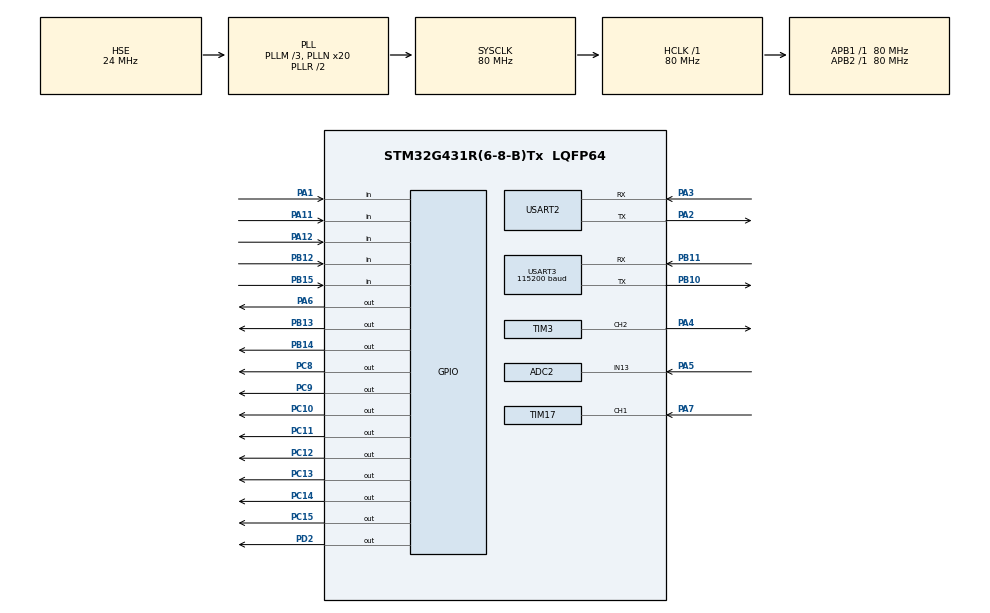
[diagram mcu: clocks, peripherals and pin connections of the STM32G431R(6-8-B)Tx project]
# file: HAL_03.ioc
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ADC2.Channel-0\#ChannelRegularConversion=ADC_CHANNEL_13
ADC2.NbrOfConversionFlag=1
ADC2.OffsetNumber-0\#ChannelRegularConversion=ADC_OFFSET_NONE
ADC2.Rank-0\#ChannelRegularConversion=1
ADC2.SamplingTime-0\#ChannelRegularConversion=ADC_SAMPLETIME_247CYCLES_5
Dma.Request0=TIM3_CH2
Dma.TIM3_CH2.0.Direction=DMA_MEMORY_TO_PERIPH
Dma.TIM3_CH2.0.EventEnable=DISABLE
Dma.TIM3_CH2.0.Instance=DMA1_Channel1
Dma.TIM3_CH2.0.MemDataAlignment=DMA_MDATAALIGN_HALFWORD
Dma.TIM3_CH2.0.MemInc=DMA_MINC_ENABLE
Dma.TIM3_CH2.0.Mode=DMA_NORMAL
Dma.TIM3_CH2.0.PeriphDataAlignment=DMA_PDATAALIGN_WORD
Dma.TIM3_CH2.0.PeriphInc=DMA_PINC_DISABLE
Dma.TIM3_CH2.0.Polarity=HAL_DMAMUX_REQ_GEN_RISING
Dma.TIM3_CH2.0.Priority=DMA_PRIORITY_LOW
Dma.TIM3_CH2.0.RequestNumber=1
Dma.TIM3_CH2.0.SignalID=NONE
Dma.TIM3_CH2.0.SyncEnable=DISABLE
Dma.TIM3_CH2.0.SyncPolarity=HAL_DMAMUX_SYNC_NO_EVENT
Dma.TIM3_CH2.0.SyncRequestNumber=1
Dma.TIM3_CH2.0.SyncSignalID=NONE
Mcu.Family=STM32G4
Mcu.Name=STM32G431R(6-8-B)Tx
Mcu.Package=LQFP64
NVIC.DMA1_Channel1_IRQn=true\:0\:0\:false\:false\:true\:false\:true
NVIC.PriorityGroup=NVIC_PRIORITYGROUP_4
NVIC.TIM1_TRG_COM_TIM17_IRQn=true\:0\:0\:false\:false\:true\:true\:true
NVIC.TIM2_IRQn=true\:0\:0\:false\:false\:true\:true\:true
NVIC.TIM6_DAC_IRQn=true\:0\:0\:false\:false\:true\:true\:true
NVIC.USART2_IRQn=true\:0\:0\:false\:false\:true\:true\:true
NVIC.USART3_IRQn=true\:0\:0\:false\:false\:true\:true\:true
PA1.GPIO_PuPd=GPIO_NOPULL
PA1.Signal=GPIO_Input
PA11.GPIO_PuPd=GPIO_PULLDOWN
PA11.Signal=GPIO_Input
PA12.GPIO_PuPd=GPIO_PULLDOWN
PA12.Signal=GPIO_Input
PA2.Mode=Asynchronous
PA2.Signal=USART2_TX
PA3.Mode=Asynchronous
PA3.Signal=USART2_RX
PA4.Signal=S_TIM3_CH2
PA5.Mode=IN13-Single-Ended
PA5.Signal=ADC2_IN13
PA6.Signal=GPIO_Output
PA7.Signal=S_TIM17_CH1
PB10.Mode=Asynchronous
PB10.Signal=USART3_TX
PB11.Mode=Asynchronous
PB11.Signal=USART3_RX
PB12.Signal=GPIO_Input
PB13.Signal=GPIO_Output
PB14.Signal=GPIO_Output
PB15.GPIO_PuPd=GPIO_PULLDOWN
PB15.Signal=GPIO_Input
PC10.Signal=GPIO_Output
PC11.Signal=GPIO_Output
PC12.Signal=GPIO_Output
PC13.Signal=GPIO_Output
PC14-OSC32_IN.Signal=GPIO_Output
PC15-OSC32_OUT.Signal=GPIO_Output
PC8.Signal=GPIO_Output
PC9.Signal=GPIO_Output
PD2.Signal=GPIO_Output
PF0-OSC_IN.Mode=HSE-External-Oscillator
PF0-OSC_IN.Signal=RCC_OSC_IN
PF1-OSC_OUT.Mode=HSE-External-Oscillator
PF1-OSC_OUT.Signal=RCC_OSC_OUT
ProjectManager.HeapSize=0x200
ProjectManager.StackSize=0x400
ProjectManager.TargetToolchain=MDK-ARM V5.27
RCC.ADC12Freq_Value=80000000
RCC.AHBFreq_Value=80000000
RCC.APB1Freq_Value=80000000
RCC.APB1TimFreq_Value=80000000
RCC.APB2Freq_Value=80000000
RCC.APB2TimFreq_Value=80000000
RCC.CortexFreq_Value=80000000
RCC.EXTERNAL_CLOCK_VALUE=12288000
RCC.HCLKFreq_Value=80000000
RCC.HSE_VALUE=24000000
RCC.HSI48_VALUE=48000000
RCC.HSI_VALUE=16000000
RCC.LSE_VALUE=32768
RCC.PLLM=RCC_PLLM_DIV3
RCC.PLLN=20
RCC.PLLSourceVirtual=RCC_PLLSOURCE_HSE
RCC.SYSCLKFreq_VALUE=80000000
RCC.SYSCLKSource=RCC_SYSCLKSOURCE_PLLCLK
RCC.USBFreq_Value=80000000
RCC.VCOOutputFreq_Value=160000000
SH.S_TIM17_CH1.0=TIM17_CH1,Input_Capture1_from_TI1
SH.S_TIM3_CH2.0=TIM3_CH2,PWM Generation2 CH2
TIM17.Channel=TIM_CHANNEL_1
TIM17.PeriodNoDither=0xffff
TIM17.Prescaler=800-1
TIM2.AutoReloadPreload=TIM_AUTORELOAD_PRELOAD_ENABLE
TIM2.PeriodNoDither=10000-1
TIM2.Prescaler=8000-1
TIM3.AutoReloadPreload=TIM_AUTORELOAD_PRELOAD_ENABLE
TIM3.Channel-PWM\ Generation2\ CH2=TIM_CHANNEL_2
TIM3.PeriodNoDither=99
TIM3.Prescaler=0
TIM6.AutoReloadPreload=TIM_AUTORELOAD_PRELOAD_ENABLE
TIM6.PeriodNoDither=499
TIM6.Prescaler=79
USART2.VirtualMode-Asynchronous=VM_ASYNC
USART3.BaudRate=115200
USART3.VirtualMode-Asynchronous=VM_ASYNC
VP_SYS_VS_DBSignals.Mode=DisableDeadBatterySignals
VP_TIM17_VS_ClockSourceINT.Mode=Enable_Timer
VP_TIM2_VS_ClockSourceINT.Mode=Internal
VP_TIM3_VS_ClockSourceINT.Mode=Internal
VP_TIM6_VS_ClockSourceINT.Mode=Enable_Timer
board=custom

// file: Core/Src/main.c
/* USER CODE BEGIN Header */
/**
  ******************************************************************************
  * @file           : main.c
  * @brief          : Main program body
  ******************************************************************************
  * @attention
  *
  * <h2><center>&copy; Copyright (c) 2024 STMicroelectronics.
  * All rights reserved.</center></h2>
  *
  * This software component is licensed by ST under BSD 3-Clause license,
  * the "License"; You may not use this file except in compliance with the
  * License. You may obtain a copy of the License at:
  *                        opensource.org/licenses/BSD-3-Clause
  *
  ******************************************************************************
  */
/* USER CODE END Header */
#include "main.h"
#include "adc.h"
#include "dma.h"
#include "tim.h"
#include "usart.h"
#include "gpio.h"

/* USER CODE BEGIN Includes */
#include "led.h"
#include "lcd.h"
#include <string.h>
#include <stdio.h>
#include "ws2812b.h"
//#include "lcd.h"

/* USER CODE END Includes */

/* USER CODE BEGIN PD */

#define K210    HAL_GPIO_ReadPin(GPIOB, GPIO_PIN_1)
#define Have    GPIO_PIN_SET
#define NotHave GPIO_PIN_RESET

#define PUL_Port GPIOB
#define PUL_Pin  GPIO_PIN_13
#define DIR_Port GPIOB
#define DIR_Pin  GPIO_PIN_14
#define PUL_TRG HAL_GPIO_TogglePin(PUL_Port, PUL_Pin)
#define PUL_H   HAL_GPIO_WritePin(PUL_Port, PUL_Pin, GPIO_PIN_SET)
#define PUL_L   HAL_GPIO_WritePin(PUL_Port, PUL_Pin, GPIO_PIN_RESET)

#define DIR_TRG HAL_GPIO_TogglePin(DIR_Port, DIR_Pin)
#define DIR_H   HAL_GPIO_WritePin(DIR_Port, DIR_Pin, GPIO_PIN_SET)
#define DIR_L   HAL_GPIO_WritePin(DIR_Port, DIR_Pin, GPIO_PIN_RESET)

#define Trig_Port GPIOA
#define Trig_Pin  GPIO_PIN_6
#define TRIG_ON   HAL_GPIO_WritePin(Trig_Port, Trig_Pin, GPIO_PIN_SET)
#define TRIG_OFF  HAL_GPIO_WritePin(Trig_Port, Trig_Pin, GPIO_PIN_RESET)

#define SR04_Min  46
#define SR04_Max  30
/* USER CODE END PD */

/* USER CODE BEGIN PV */

uint32_t Ema_Count, Stop_Time_Count, Check_Time, Have_Count;
uint8_t Flag_Check, Flag_Run, Flag_Down, Flag_Mid = 0, Flag_Up = 0, Flag_MidUpMid = 0, Flag_Act, Flag_Percent;
uint8_t Str[20], Str_Esp8266[20];
double Light;
uint8_t Time_Sound_Interrupt, Angle = 0;//0-180

uint8_t Temperature = 27, Humidity = 59;
uint16_t Percent_Rubbish;//0-100
uint8_t RX[50];

uint8_t  Distance = 0, array[50];
uint8_t  Channel2Edge = 0;
uint16_t Channel2HighTime, Channel2RisingTime, Channel2FallingTime;

/* USER CODE END PV */

void SystemClock_Config(void);
/* USER CODE BEGIN PFP */
double getADC_PA5(void);
void LED_Show(void);
void gases_start_signal(void);
void LCD_Show(void);
/* USER CODE END PFP */

/* USER CODE BEGIN 0 */

void HAL_TIM_PeriodElapsedCallback(TIM_HandleTypeDef *htim)
{
//	if(htim->Instance == htim6.Instance)
//	{
//		//上电进入工作状态（平铺）后才能进行K210检测
/////////////////////////////////////////////////////////////////////////////////////////////////////////////////////////////
//
//		//K210执行逻辑
//		if(Flag_Check == 1)//开始监测K210
//		{
//			if(K210 == Have)Have_Count ++;
//			if(++Check_Time == 2000)
//			{
//				if((Have_Count * 1.0f / Check_Time) > 0.4f)
//				{
//					Flag_Run = 1;//大部分时候都是有垃圾,触发花瓣合拢
//					Flag_Check = 0;//停止监测k210
//					LED_ON(2);
//					LED_OFF(1);
//				}
//				Have_Count = 0;
//				Check_Time = 0;
//			}
//		}
//
//		if(Flag_Run == 1)//开始向上合拢
//		{
//			if(Angle == 90)
//			{
//				DIR_H;
//				PUL_TRG;
//				if(++Ema_Count >= 1550)
//				{
//					Ema_Count = 0;
//					Flag_Run = 2;
//					LED_ON(3);
//					LED_OFF(2);
//					Angle += 90;
//				}
//			}
//		}
//		else if(Flag_Run == 2)//合拢完毕，暂停1s
//		{
//			DIR_L;
//			if(++Stop_Time_Count == 1000)
//			{
//				Stop_Time_Count = 0;
//				Flag_Run = 3;
//				LED_ON(4);
//				LED_OFF(3);
//			}
//		}
//		else if(Flag_Run == 3)//合拢完毕，向下收回平铺
//		{
//			if(Angle == 180)
//			{
//				DIR_L;
//				PUL_TRG;
//				if(++Ema_Count == 1550)
//				{
//					Ema_Count = 0;
//					Flag_Check = 1;//重新开始监测K210
//					Flag_Run = 0;//停止运行合拢程序
//					Angle -= 90;
//				}
//			}
//		}
//
/////////////////////////////////////////////////////////////////////////////////////////////////////////////////////////////
//		//语音指令执行逻辑
//		if(Flag_Down == 1 && Flag_Percent == 0)//从任意状态垂落
//		{
//			Flag_Mid = 0;Flag_Up = 0;Flag_MidUpMid = 0;//垂落优先级最高
//			Flag_Check = 0;//不是平铺，不能检测K210
//			LED_OFF(6);LED_OFF(7);LED_OFF(8);
//			if(Angle == 90)
//			{
//				DIR_L;
//				PUL_TRG;
//				if(++Ema_Count >= 1600)
//				{
//					Ema_Count = 0;
//					Flag_Down = 0;
//					Angle -= 90;
//					LED_OFF(5);
//				}
//			}
//			else if(Angle == 180)
//			{
//				DIR_L;
//				PUL_TRG;
//				if(++Ema_Count >= 3150)
//				{
//					Ema_Count = 0;
//					Flag_Down = 0;
//					Angle -= 180;
//					LED_OFF(5);
//				}
//			}
//			else if(Angle == 0)
//			{
//				DIR_H;
//				Ema_Count = 0;
//				Flag_Down = 0;
//				LED_OFF(5);
//			}
//		}
//
//		if(Flag_Mid == 1 && Flag_Percent == 0)//从任意状态平铺
//		{
//			Flag_Up = 0;Flag_MidUpMid = 0;//次高优先级
//			LED_OFF(7);LED_OFF(8);
//			Flag_Check = 0;//没到平铺状态，不能检测K210
//			if(Angle == 0)
//			{
//				DIR_H;
//				PUL_TRG;
//				if(++Ema_Count == 1600)
//				{
//					Ema_Count = 0;
//					Flag_Mid = 0;
//					Flag_Check = 1;//到平铺状态，可以开始监测K210
//					Angle += 90;
//					LED_OFF(6);
//				}
//			}
//			else if(Angle == 180)
//			{
//				DIR_L;
//				PUL_TRG;
//				if(++Ema_Count == 1550)
//				{
//					Ema_Count = 0;
//					Flag_Mid = 0;
//					Flag_Check = 1;
//					Angle -= 90;
//					LED_OFF(6);
//				}
//			}
//			else if(Angle == 90)
//			{
//				Flag_Mid = 0;
//				Flag_Check = 1;
//				Ema_Count = 0;
//				LED_OFF(6);
//			}
//		}
//
//		if(Flag_Up == 1)//从任意状态合拢
//		{
//			Flag_MidUpMid = 0;//第三优先级
//			LED_OFF(8);
//			Flag_Check = 0;//不是平铺，不能检测K210
//			if(Angle == 90)
//			{
//				DIR_H;
//				PUL_TRG;
//				if(++Ema_Count >= 1550)
//				{
//					Ema_Count = 0;
//					Flag_Up = 0;
//					Angle += 90;
//					LED_OFF(7);
//				}
//			}
//			else if(Angle == 0)
//			{
//				Flag_Check = 0;
//				DIR_H;
//				PUL_TRG;
//				if(++Ema_Count >= 3150)
//				{
//					Ema_Count = 0;
//					Flag_Up = 0;
//					Angle += 180;
//					LED_OFF(7);
//				}
//			}
//			else if(Angle == 180)
//			{
//				DIR_L;
//				Flag_Up = 0;
//				Ema_Count = 0;
//				LED_OFF(7);
//			}
//		}
//
//		if(Flag_MidUpMid == 1  && Flag_Percent == 0)//收集垃圾
//		{
//			Flag_Check = 0;//不是平铺，不能检测K210
//			if(Angle == 90)
//			{
//				DIR_H;
//				PUL_TRG;
//				if(++Ema_Count >= 1550)
//				{
//					Ema_Count = 0;
//					Angle += 90;
//				}
//			}
//			else if(Angle == 180)
//			{
//				if(Flag_Act == 0)
//				{
//					DIR_L;
//					if(++Stop_Time_Count == 1000)
//					{
//						Stop_Time_Count = 0;
//						Flag_Act = 1;
//					}
//				}
//				else
//				{
//					DIR_L;
//					PUL_TRG;
//					if(++Ema_Count >= 1550)
//					{
//						Ema_Count = 0;
//						Angle -= 90;
//						Flag_MidUpMid = 0;
//						Flag_Act = 0;
//						Flag_Check = 1;//回到平铺状态，重新开启K210监测
//						LED_OFF(8);
//					}
//				}
//			}
//		}
//
//	}
//	if(htim->Instance == htim2.Instance)
//	{
//		Time_Sound_Interrupt ++;
//	}
}

//串口接收处理
void HAL_UART_RxCpltCallback(UART_HandleTypeDef *huart)
{
//	if(huart->Instance == huart2.Instance)//语音
//	{
//		if(RX[0]=='1')
//		{
//			LED_ON(5);
//			Flag_Down = 1;
//		}
//		else if(RX[0]=='2')
//		{
//			LED_ON(8);
//			Flag_MidUpMid = 1;
//		}
//		else if(RX[0]=='3')
//		{
//			LED_ON(6);
//			Flag_Mid = 1;
//			LED_ON(1);
//		}
//		else if(RX[0]=='4')
//		{
//			LED_ON(7);
//			Flag_Up = 1;
//		}
//		else if(RX[0]=='0')
//		{
//
//		}
//		HAL_UART_Receive_IT(&huart2, (uint8_t *)RX,1);
//	}
//
//	if(huart->Instance == huart3.Instance)//物联网
//	{
//		if(RX[0]=='1')
//		{
//			LED_ON(5);
//			Flag_Down = 1;
//		}
//		else if(RX[0]=='2')
//		{
//			LED_ON(6);
//			Flag_Mid = 1;
//			LED_ON(2);
//		}
//		else if(RX[0]=='3')
//		{
//			LED_ON(7);
//			Flag_Up = 1;
//		}
//		else if(RX[0]=='4')
//		{
//			LED_ON(8);
//			Flag_MidUpMid = 1;
//		}
//		else if(RX[0]=='0')
//		{
//
//		}
//		HAL_UART_Receive_IT(&huart3, (uint8_t *)RX, 1);
//	}
}
/* USER CODE END 0 */

int main(void)
{

  /* MCU Configuration--------------------------------------------------------*/

  /* Reset of all peripherals, Initializes the Flash interface and the Systick. */
  HAL_Init();

  /* Configure the system clock */
  SystemClock_Config();

  /* Initialize all configured peripherals */
  MX_GPIO_Init();
  MX_DMA_Init();
  MX_TIM2_Init();
  MX_TIM3_Init();
  MX_ADC2_Init();
  MX_TIM6_Init();
  MX_USART3_UART_Init();
  MX_USART2_UART_Init();
  MX_TIM17_Init();
  /* USER CODE BEGIN 2 */
  LED_Init();

  LCD_Init();
  LCD_Clear(Black);
  LCD_SetBackColor(Black);
  LCD_SetTextColor(White);

  HAL_TIM_Base_Start_IT(&htim6);//打开定时器6中断，完成花瓣合拢等过程
  //定时器3用于输出占空比控制灯
  //定时器2超声波计时

  HAL_TIM_IC_Start_IT(&htim17, TIM_CHANNEL_1);//定时器17用于输入捕获获取超声波数据

  HAL_UART_Receive_IT(&huart3, (uint8_t *)RX, 1);//串口3接收esp8266数据
  HAL_UART_Receive_IT(&huart2, (uint8_t *)RX, 1);//串口2，语音模块

  /* USER CODE END 2 */

  /* Infinite loop */
  /* USER CODE BEGIN WHILE */
  while (1)
  {

	  //超声波深度探测
	  gases_start_signal();

	  if(Distance<SR04_Max){Percent_Rubbish = 100;}
	  else if(Distance>SR04_Max&&Distance<SR04_Min)Percent_Rubbish = (uint16_t)(((double)(SR04_Min*1.0 - Distance) / (SR04_Min-SR04_Max)) * 100.0);
	  else if(Distance>SR04_Min)Percent_Rubbish = 0;
	  //当垃圾满，则花瓣合拢
//	  if(Percent_Rubbish >= 99)
//	  {
//		  Flag_Up = 1;
//		  LED_ON(7);
//		  Flag_Percent = 1;
//	  }
//	  else
//	  {
//		  Flag_Percent = 0;
//	  }

	  sprintf((char *)Str_Esp8266, "%2d%2d%d", Temperature, Humidity, Percent_Rubbish);
	  HAL_UART_Transmit_IT(&huart3,(uint8_t *)Str_Esp8266,strlen((char *)Str_Esp8266));

	  //检测光照度，亮灯，防撞
	  Light = getADC_PA5();
	  LED_Show();

	  //LCD显示信息
	  LCD_Show();

    /* USER CODE END WHILE */

  }
}

void SystemClock_Config(void)
{
  RCC_OscInitTypeDef RCC_OscInitStruct = {0};
  RCC_ClkInitTypeDef RCC_ClkInitStruct = {0};
  RCC_PeriphCLKInitTypeDef PeriphClkInit = {0};

  /** Configure the main internal regulator output voltage
  */
  HAL_PWREx_ControlVoltageScaling(PWR_REGULATOR_VOLTAGE_SCALE1);
  /** Initializes the RCC Oscillators according to the specified parameters
  * in the RCC_OscInitTypeDef structure.
  */
  RCC_OscInitStruct.OscillatorType = RCC_OSCILLATORTYPE_HSE;
  RCC_OscInitStruct.HSEState = RCC_HSE_ON;
  RCC_OscInitStruct.PLL.PLLState = RCC_PLL_ON;
  RCC_OscInitStruct.PLL.PLLSource = RCC_PLLSOURCE_HSE;
  RCC_OscInitStruct.PLL.PLLM = RCC_PLLM_DIV3;
  RCC_OscInitStruct.PLL.PLLN = 20;
  RCC_OscInitStruct.PLL.PLLP = RCC_PLLP_DIV2;
  RCC_OscInitStruct.PLL.PLLQ = RCC_PLLQ_DIV2;
  RCC_OscInitStruct.PLL.PLLR = RCC_PLLR_DIV2;
  if (HAL_RCC_OscConfig(&RCC_OscInitStruct) != HAL_OK)
  {
    Error_Handler();
  }
  /** Initializes the CPU, AHB and APB buses clocks
  */
  RCC_ClkInitStruct.ClockType = RCC_CLOCKTYPE_HCLK|RCC_CLOCKTYPE_SYSCLK
                              |RCC_CLOCKTYPE_PCLK1|RCC_CLOCKTYPE_PCLK2;
  RCC_ClkInitStruct.SYSCLKSource = RCC_SYSCLKSOURCE_PLLCLK;
  RCC_ClkInitStruct.AHBCLKDivider = RCC_SYSCLK_DIV1;
  RCC_ClkInitStruct.APB1CLKDivider = RCC_HCLK_DIV1;
  RCC_ClkInitStruct.APB2CLKDivider = RCC_HCLK_DIV1;

  if (HAL_RCC_ClockConfig(&RCC_ClkInitStruct, FLASH_LATENCY_2) != HAL_OK)
  {
    Error_Handler();
  }
  /** Initializes the peripherals clocks
  */
  PeriphClkInit.PeriphClockSelection = RCC_PERIPHCLK_USART2|RCC_PERIPHCLK_USART3
                              |RCC_PERIPHCLK_ADC12;
  PeriphClkInit.Usart2ClockSelection = RCC_USART2CLKSOURCE_PCLK1;
  PeriphClkInit.Usart3ClockSelection = RCC_USART3CLKSOURCE_PCLK1;
  PeriphClkInit.Adc12ClockSelection = RCC_ADC12CLKSOURCE_SYSCLK;
  if (HAL_RCCEx_PeriphCLKConfig(&PeriphClkInit) != HAL_OK)
  {
    Error_Handler();
  }
}

/* USER CODE BEGIN 4 */
void HAL_TIM_IC_CaptureCallback(TIM_HandleTypeDef *htim)
{
	int i;
	UNUSED(htim);

	if(htim->Instance == htim17.Instance)
	{
		if(htim->Channel == HAL_TIM_ACTIVE_CHANNEL_1)
		{
			if(Channel2Edge == 0)
			{
				Channel2RisingTime = HAL_TIM_ReadCapturedValue(&htim17, TIM_CHANNEL_1);
				__HAL_TIM_SET_CAPTUREPOLARITY(&htim17, TIM_CHANNEL_1, TIM_INPUTCHANNELPOLARITY_FALLING);
				HAL_TIM_IC_Start_IT(&htim17, TIM_CHANNEL_2);

				Channel2Edge = 1;
			}
			else if(Channel2Edge == 1)
			{
				Channel2FallingTime = HAL_TIM_ReadCapturedValue(&htim17, TIM_CHANNEL_1);
				__HAL_TIM_SET_CAPTUREPOLARITY(&htim17, TIM_CHANNEL_1, TIM_INPUTCHANNELPOLARITY_RISING);
				HAL_TIM_IC_Start_IT(&htim17, TIM_CHANNEL_1);

				Channel2HighTime = Channel2FallingTime < Channel2RisingTime ? Channel2FallingTime + 0xffff - Channel2RisingTime + 1 : Channel2FallingTime - Channel2RisingTime;
				Distance = Channel2HighTime * 17 / 100;
				Channel2Edge = 0;
			}
		}
	}
//	array[i] = Channel2HighTime * 17 / 100;

//	if(i == 49)
//	{
//		for(int j = 0; j < 50; j++)
//		{
//			Distance += array[i];
//		}
//		Distance  = Distance * 1.0 / 50;
//	}
//
//	i++;
//	if(i==50)i=0;
}

void gases_start_signal(void)
{
    TRIG_ON;
    //延时20us
    HAL_Delay(1);
    TRIG_OFF;
}

void LED_Show(void)
{
	if(Light > 1.60 && Light <= 1.80)
	  {
		  	RGB_Show_ALL(table[6]);
	  }
	  else if(Light > 1.80 && Light <= 2.00)
	  {
		  	RGB_Show_ALL(table[7]);
	  }
	  else if(Light > 2.00 && Light <= 2.20)
	  {
		  	RGB_Show_ALL(table[8]);
	  }
	  else if(Light > 2.20 && Light <= 2.40)
	  {
		  	RGB_Show_ALL(table[13]);
	  }
	  else if(Light > 2.40 && Light <= 2.60)
	  {
		  	RGB_Show_ALL(table[12]);
	  }
	  else if(Light > 2.60 && Light <= 2.80)
	  {
		  	RGB_Show_ALL(table[11]);
	  }
	  else if(Light > 2.80 && Light <= 3.0)
	  {
		  	RGB_Show_ALL(table[9]);
	  }
	  else if(Light > 3.00 && Light <= 3.20)
	  {
		  	RGB_Show_ALL(table[10]);
	  }
	  else if(Light > 3.20)RGB_Show_ALL(table[14]);
	  else RGB_Show_ALL(BLACK);
}

void LCD_Show(void)
{
//	sprintf((char *)Str,  "Te_Hu_Pe:%2d,%2d,%d", Temperature, Humidity, Percent_Rubbish);
//    LCD_DisplayStringLine(Line0, Str);
//	if(RX[0] == '0' || RX[0] == '1' || RX[0] == '2' || RX[0] == '3' || RX[0] == '4')
//		LCD_DisplayStringLine(Line1, (uint8_t *)(RX));
//	else LCD_DisplayStringLine(Line1, (uint8_t *)"0");
//	sprintf((char *)Str, "Dis:%2dcm,Light:%.2f", Distance, Light);
//    LCD_DisplayStringLine(Line2, (uint8_t *)Str);
//	sprintf((char *)Str, "K210_Have:%4d", Have_Count);
//    LCD_DisplayStringLine(Line3, (uint8_t *)Str);
//
//	sprintf((char *)Str, "Check-Run:%d,%d", Flag_Check, Flag_Run);
//    LCD_DisplayStringLine(Line4, (uint8_t *)Str);
//	sprintf((char *)Str, "UpMdDnAc:%d%d%d%d", Flag_Up, Flag_Mid, Flag_Down, Flag_MidUpMid);
//    LCD_DisplayStringLine(Line5, (uint8_t *)Str);
//
////	sprintf((char *)Str, "Angle:%3d", Angle);
////    LCD_DisplayStringLine(Line6, (uint8_t *)Str);
//
//    sprintf((char *)Str, "Ema_C:%4d", Ema_Count);
//    LCD_DisplayStringLine(Line7, (uint8_t *)Str);
//	sprintf((char *)Str, "Stop_Time:%4d", Stop_Time_Count);
//    LCD_DisplayStringLine(Line8, (uint8_t *)Str);
//    sprintf((char *)Str, "DIR:%d", HAL_GPIO_ReadPin(DIR_Port, DIR_Pin));
//    LCD_DisplayStringLine(Line9, (uint8_t *)Str);

    sprintf((char *)Str, "%d,%d,%d,%d%%,%dcm", K210, HAL_GPIO_ReadPin(DIR_Port, DIR_Pin),Have_Count, Percent_Rubbish,Distance);
	LCD_DisplayStringLine(Line6, (uint8_t *)Str);

//	sprintf((char *)Str, "%d,%d", K210,Have_Count);
//	LCD_DisplayStringLine(Line6, (uint8_t *)Str);
}

double getADC_PA5(void)
{
	uint16_t adc;
	HAL_ADC_Start(&hadc2);
	HAL_ADC_PollForConversion(&hadc2, 10);
	adc = HAL_ADC_GetValue(&hadc2);
	HAL_ADC_Stop(&hadc2);
	return adc * 3.3 / 4096;
}

/* USER CODE END 4 */

void Error_Handler(void)
{
  __disable_irq();
  while (1)
  {
  }
}

/************************ (C) COPYRIGHT STMicroelectronics *****END OF FILE****/
